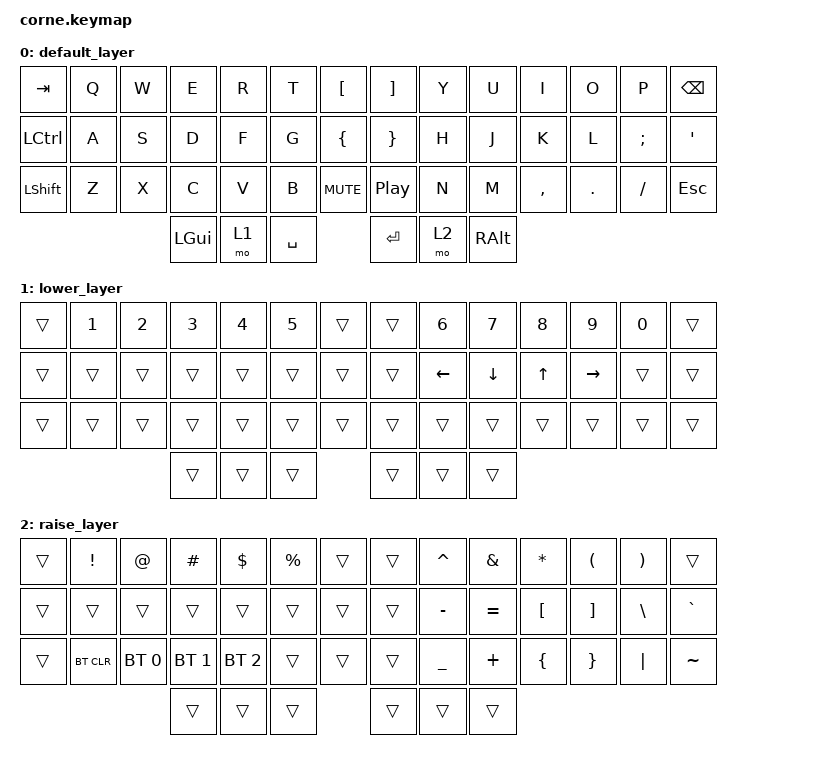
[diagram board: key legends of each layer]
#include <behaviors.dtsi>
#include <dt-bindings/zmk/keys.h>
#include <dt-bindings/zmk/bt.h>

/ {
    keymap {
        compatible = "zmk,keymap";

        default_layer {
            bindings = <
/* Rad 0 (Øverste rad - 14 taster) */
&kp TAB    &kp Q  &kp W  &kp E     &kp R  &kp T  &kp LBKT        &kp RBKT  &kp Y  &kp U  &kp I     &kp O    &kp P     &kp BSPC
/* Rad 1 (Midterste rad - 14 taster) */
&kp LCTRL  &kp A  &kp S  &kp D     &kp F  &kp G  &kp LBRC        &kp RBRC  &kp H  &kp J  &kp K     &kp L    &kp SEMI  &kp SQT
/* Rad 2 (Nederste rad - 14 taster: 6 vanlige taster + 1 knapp for encoder på hver side) */
&kp LSHFT  &kp Z  &kp X  &kp C     &kp V  &kp B  &kp C_MUTE      &kp C_PP  &kp N  &kp M  &kp COMMA &kp DOT  &kp FSLH  &kp ESC
/* Rad 3 (Tommelrad - 6 taster: 3 på venstre, 3 på høyre) */
                         &kp LGUI  &mo 1  &kp SPACE                &kp RET   &mo 2  &kp RALT
            >;
        };

        lower_layer {
            bindings = <
&trans  &kp N1  &kp N2  &kp N3  &kp N4  &kp N5  &trans      &trans  &kp N6    &kp N7    &kp N8    &kp N9    &kp N0    &trans
&trans  &trans  &trans  &trans  &trans  &trans  &trans      &trans  &kp LEFT  &kp DOWN  &kp UP    &kp RIGHT &trans    &trans
&trans  &trans  &trans  &trans  &trans  &trans  &trans      &trans  &trans    &trans    &trans    &trans    &trans    &trans
                        &trans  &trans  &trans              &trans  &trans    &trans
            >;
        };

        raise_layer {
            bindings = <
&trans  &kp EXCL  &kp AT  &kp HASH  &kp DLLR  &kp PRCNT  &trans      &trans  &kp CARET &kp AMPS  &kp ASTRK &kp LPAR  &kp RPAR  &trans
&trans  &trans    &trans  &trans    &trans    &trans     &trans      &trans  &kp MINUS &kp EQUAL &kp LBKT  &kp RBKT  &kp BSLH  &kp GRAVE
&trans  &bt BT_CLR &bt BT_SEL 0 &bt BT_SEL 1 &bt BT_SEL 2 &trans &trans   &trans  &kp UNDER &kp PLUS  &kp LBRC  &kp RBRC  &kp PIPE  &kp TILDE
                          &trans    &trans    &trans                 &trans  &trans    &trans
            >;
        };
    };
};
